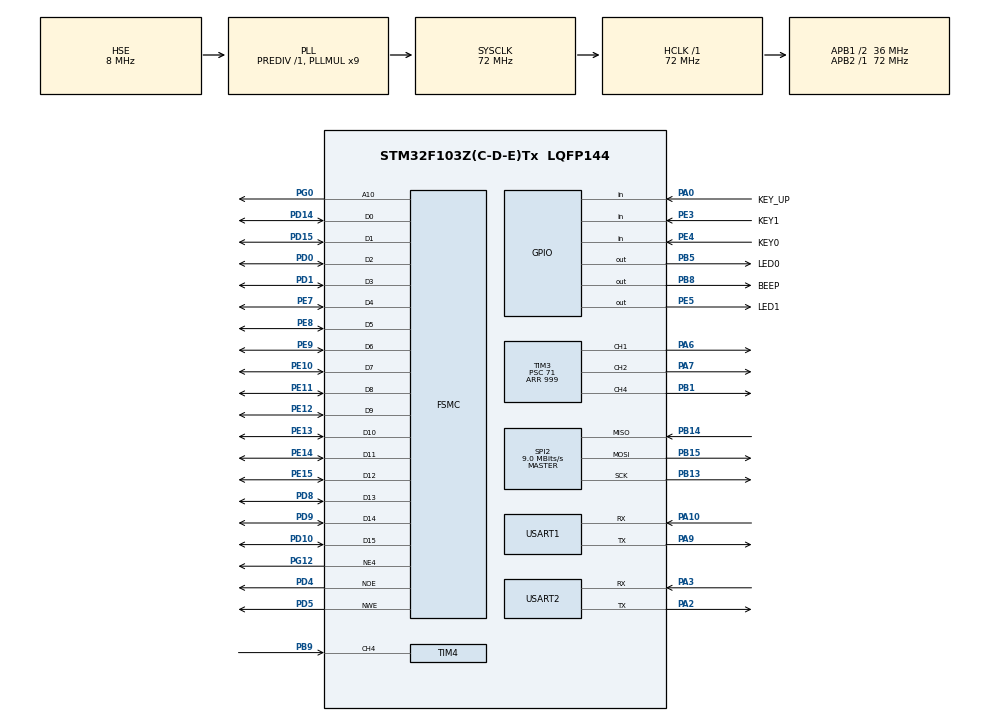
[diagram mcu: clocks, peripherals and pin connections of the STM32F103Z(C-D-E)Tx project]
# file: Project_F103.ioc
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Dma.Request0=USART1_RX
Dma.Request1=USART1_TX
Dma.Request2=USART2_RX
Dma.Request3=USART2_TX
Dma.USART1_RX.0.Direction=DMA_PERIPH_TO_MEMORY
Dma.USART1_RX.0.Instance=DMA1_Channel5
Dma.USART1_RX.0.MemDataAlignment=DMA_MDATAALIGN_BYTE
Dma.USART1_RX.0.MemInc=DMA_MINC_ENABLE
Dma.USART1_RX.0.Mode=DMA_NORMAL
Dma.USART1_RX.0.PeriphDataAlignment=DMA_PDATAALIGN_BYTE
Dma.USART1_RX.0.PeriphInc=DMA_PINC_DISABLE
Dma.USART1_RX.0.Priority=DMA_PRIORITY_LOW
Dma.USART1_TX.1.Direction=DMA_MEMORY_TO_PERIPH
Dma.USART1_TX.1.Instance=DMA1_Channel4
Dma.USART1_TX.1.MemDataAlignment=DMA_MDATAALIGN_BYTE
Dma.USART1_TX.1.MemInc=DMA_MINC_ENABLE
Dma.USART1_TX.1.Mode=DMA_NORMAL
Dma.USART1_TX.1.PeriphDataAlignment=DMA_PDATAALIGN_BYTE
Dma.USART1_TX.1.PeriphInc=DMA_PINC_DISABLE
Dma.USART1_TX.1.Priority=DMA_PRIORITY_LOW
Dma.USART2_RX.2.Direction=DMA_PERIPH_TO_MEMORY
Dma.USART2_RX.2.Instance=DMA1_Channel6
Dma.USART2_RX.2.MemDataAlignment=DMA_MDATAALIGN_BYTE
Dma.USART2_RX.2.MemInc=DMA_MINC_ENABLE
Dma.USART2_RX.2.Mode=DMA_NORMAL
Dma.USART2_RX.2.PeriphDataAlignment=DMA_PDATAALIGN_BYTE
Dma.USART2_RX.2.PeriphInc=DMA_PINC_DISABLE
Dma.USART2_RX.2.Priority=DMA_PRIORITY_LOW
Dma.USART2_TX.3.Direction=DMA_MEMORY_TO_PERIPH
Dma.USART2_TX.3.Instance=DMA1_Channel7
Dma.USART2_TX.3.MemDataAlignment=DMA_MDATAALIGN_BYTE
Dma.USART2_TX.3.MemInc=DMA_MINC_ENABLE
Dma.USART2_TX.3.Mode=DMA_NORMAL
Dma.USART2_TX.3.PeriphDataAlignment=DMA_PDATAALIGN_BYTE
Dma.USART2_TX.3.PeriphInc=DMA_PINC_DISABLE
Dma.USART2_TX.3.Priority=DMA_PRIORITY_LOW
FSMC.AddressSetupTime1=0
FSMC.BusTurnAroundDuration1=0
FSMC.DataSetupTime1=15
FSMC.ExtendedAddressSetupTime1=0
FSMC.ExtendedBusTurnAroundDuration1=0
FSMC.ExtendedDataSetupTime1=1
FSMC.ExtendedMode1=FSMC_EXTENDED_MODE_ENABLE
FSMC.WriteOperation1=FSMC_WRITE_OPERATION_ENABLE
IWDG.Prescaler=IWDG_PRESCALER_32
Mcu.Family=STM32F1
Mcu.Name=STM32F103Z(C-D-E)Tx
Mcu.Package=LQFP144
NVIC.DMA1_Channel4_IRQn=true\:0\:0\:false\:false\:true\:false\:true\:true
NVIC.DMA1_Channel5_IRQn=true\:0\:0\:false\:false\:true\:false\:true\:true
NVIC.DMA1_Channel6_IRQn=true\:0\:0\:false\:false\:true\:false\:true\:true
NVIC.DMA1_Channel7_IRQn=true\:0\:0\:false\:false\:true\:false\:true\:true
NVIC.PriorityGroup=NVIC_PRIORITYGROUP_4
NVIC.TIM4_IRQn=true\:5\:0\:true\:false\:true\:true\:true\:true
NVIC.TIM6_IRQn=true\:8\:0\:true\:false\:true\:true\:true\:true
NVIC.USART1_IRQn=true\:5\:0\:true\:false\:true\:false\:true\:true
NVIC.USART2_IRQn=true\:5\:0\:true\:false\:true\:true\:true\:true
OSC_IN.Mode=HSE-External-Oscillator
OSC_IN.Signal=RCC_OSC_IN
OSC_OUT.Mode=HSE-External-Oscillator
OSC_OUT.Signal=RCC_OSC_OUT
PA0-WKUP.GPIO_Label=KEY_UP
PA0-WKUP.GPIO_PuPd=GPIO_PULLUP
PA0-WKUP.Signal=GPIO_Input
PA10.Mode=Asynchronous
PA10.Signal=USART1_RX
PA13.Mode=Serial_Wire
PA13.Signal=SYS_JTMS-SWDIO
PA14.Mode=Serial_Wire
PA14.Signal=SYS_JTCK-SWCLK
PA2.Mode=Asynchronous
PA2.Signal=USART2_TX
PA3.Mode=Asynchronous
PA3.Signal=USART2_RX
PA6.Signal=S_TIM3_CH1
PA7.Signal=S_TIM3_CH2
PA9.Mode=Asynchronous
PA9.Signal=USART1_TX
PB1.Signal=S_TIM3_CH4
PB13.Mode=Full_Duplex_Master
PB13.Signal=SPI2_SCK
PB14.Mode=Full_Duplex_Master
PB14.Signal=SPI2_MISO
PB15.Mode=Full_Duplex_Master
PB15.Signal=SPI2_MOSI
PB5.GPIO_Label=LED0
PB5.GPIO_PuPd=GPIO_NOPULL
PB5.PinState=GPIO_PIN_SET
PB5.Signal=GPIO_Output
PB8.GPIO_Label=BEEP
PB8.GPIO_PuPd=GPIO_PULLDOWN
PB8.Signal=GPIO_Output
PB9.Signal=S_TIM4_CH4
PC14-OSC32_IN.Mode=LSE-External-Oscillator
PC14-OSC32_IN.Signal=RCC_OSC32_IN
PC15-OSC32_OUT.Mode=LSE-External-Oscillator
PC15-OSC32_OUT.Signal=RCC_OSC32_OUT
PD0.Signal=FSMC_D2_DA2
PD1.Signal=FSMC_D3_DA3
PD10.Signal=FSMC_D15_DA15
PD14.Signal=FSMC_D0_DA0
PD15.Signal=FSMC_D1_DA1
PD4.Signal=FSMC_NOE
PD5.Signal=FSMC_NWE
PD8.Signal=FSMC_D13_DA13
PD9.Signal=FSMC_D14_DA14
PE10.Signal=FSMC_D7_DA7
PE11.Signal=FSMC_D8_DA8
PE12.Signal=FSMC_D9_DA9
PE13.Signal=FSMC_D10_DA10
PE14.Signal=FSMC_D11_DA11
PE15.Signal=FSMC_D12_DA12
PE3.GPIO_Label=KEY1
PE3.GPIO_PuPd=GPIO_PULLDOWN
PE3.Signal=GPIO_Input
PE4.GPIO_Label=KEY0
PE4.GPIO_PuPd=GPIO_PULLDOWN
PE4.Signal=GPIO_Input
PE5.GPIO_Label=LED1
PE5.GPIO_PuPd=GPIO_NOPULL
PE5.PinState=GPIO_PIN_SET
PE5.Signal=GPIO_Output
PE7.Signal=FSMC_D4_DA4
PE8.Signal=FSMC_D5_DA5
PE9.Signal=FSMC_D6_DA6
PG0.Signal=FSMC_A10
PG12.Mode=NorPsramChipSelect4_1
PG12.Signal=FSMC_NE4
ProjectManager.HeapSize=0x200
ProjectManager.StackSize=0x400
ProjectManager.TargetToolchain=MDK-ARM V5.32
RCC.AHBFreq_Value=72000000
RCC.APB1CLKDivider=RCC_HCLK_DIV2
RCC.APB1Freq_Value=36000000
RCC.APB1TimFreq_Value=72000000
RCC.APB2Freq_Value=72000000
RCC.APB2TimFreq_Value=72000000
RCC.HCLKFreq_Value=72000000
RCC.PLLMUL=RCC_PLL_MUL9
RCC.PLLSourceVirtual=RCC_PLLSOURCE_HSE
RCC.SYSCLKFreq_VALUE=72000000
RCC.SYSCLKSource=RCC_SYSCLKSOURCE_PLLCLK
RCC.USBFreq_Value=72000000
SH.FSMC_A10.0=FSMC_A10,A10_1
SH.FSMC_D0_DA0.0=FSMC_D0,16b-d1
SH.FSMC_D10_DA10.0=FSMC_D10,16b-d1
SH.FSMC_D11_DA11.0=FSMC_D11,16b-d1
SH.FSMC_D12_DA12.0=FSMC_D12,16b-d1
SH.FSMC_D13_DA13.0=FSMC_D13,16b-d1
SH.FSMC_D14_DA14.0=FSMC_D14,16b-d1
SH.FSMC_D15_DA15.0=FSMC_D15,16b-d1
SH.FSMC_D1_DA1.0=FSMC_D1,16b-d1
SH.FSMC_D2_DA2.0=FSMC_D2,16b-d1
SH.FSMC_D3_DA3.0=FSMC_D3,16b-d1
SH.FSMC_D4_DA4.0=FSMC_D4,16b-d1
SH.FSMC_D5_DA5.0=FSMC_D5,16b-d1
SH.FSMC_D6_DA6.0=FSMC_D6,16b-d1
SH.FSMC_D7_DA7.0=FSMC_D7,16b-d1
SH.FSMC_D8_DA8.0=FSMC_D8,16b-d1
SH.FSMC_D9_DA9.0=FSMC_D9,16b-d1
SH.FSMC_NOE.0=FSMC_NOE,Lcd1
SH.FSMC_NWE.0=FSMC_NWE,Lcd1
SH.S_TIM3_CH1.0=TIM3_CH1,PWM Generation1 CH1
SH.S_TIM3_CH2.0=TIM3_CH2,PWM Generation2 CH2
SH.S_TIM3_CH4.0=TIM3_CH4,PWM Generation4 CH4
SH.S_TIM4_CH4.0=TIM4_CH4,Input_Capture4_from_TI4
SPI2.BaudRatePrescaler=SPI_BAUDRATEPRESCALER_4
SPI2.CLKPhase=SPI_PHASE_2EDGE
SPI2.CLKPolarity=SPI_POLARITY_HIGH
SPI2.CalculateBaudRate=9.0 MBits/s
SPI2.Direction=SPI_DIRECTION_2LINES
SPI2.Mode=SPI_MODE_MASTER
SPI2.VirtualType=VM_MASTER
TIM3.Channel-PWM\ Generation1\ CH1=TIM_CHANNEL_1
TIM3.Channel-PWM\ Generation2\ CH2=TIM_CHANNEL_2
TIM3.Channel-PWM\ Generation4\ CH4=TIM_CHANNEL_4
TIM3.Period=999
TIM3.Prescaler=71
TIM4.Channel-Input_Capture4_from_TI4=TIM_CHANNEL_4
TIM4.ICFilter_CH4=3
TIM4.Period=9999
TIM4.Prescaler=71
TIM6.Period=499
TIM6.Prescaler=71
USART1.VirtualMode=VM_ASYNC
USART2.VirtualMode=VM_ASYNC
VP_IWDG_VS_IWDG.Mode=IWDG_Activate
VP_TIM4_VS_ClockSourceINT.Mode=Internal
VP_TIM6_VS_ClockSourceINT.Mode=Enable_Timer
board=custom

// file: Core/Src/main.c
/* USER CODE BEGIN Header */
/**
  ******************************************************************************
  * @file           : main.c
  * @brief          : Main program body
  ******************************************************************************
  * @attention
  *
  * Copyright (c) 2025 STMicroelectronics.
  * All rights reserved.
  *
  * This software is licensed under terms that can be found in the LICENSE file
  * in the root directory of this software component.
  * If no LICENSE file comes with this software, it is provided AS-IS.
  *
  ******************************************************************************
  */
/* USER CODE END Header */
#include "main.h"
#include "dma.h"
#include "iwdg.h"
#include "spi.h"
#include "tim.h"
#include "usart.h"
#include "gpio.h"
#include "fsmc.h"

/* USER CODE BEGIN Includes */
#include "delay.h"
#include "AT24Cxx.h"
#include "NM25Qxx.h"
#include "IAP.h"
#include "OV7725.h"
#include "LCD.h"
#include "LF0038.h"
#include "rgb_led.h"

/* USER CODE END Includes */

/* USER CODE BEGIN PTD */
const char SoftWareID[] = "W011";
/* USER CODE END PTD */

/* USER CODE BEGIN PD */
#define TASK_PERIOD_500US     1
#define TASK_PERIOD_1MS       1
#define TASK_PERIOD_2MS       2
#define TASK_PERIOD_5MS       5
#define TASK_PERIOD_10MS      10

#define TASK_PERIOD_20MS      20
#define TASK_PERIOD_50MS      50
#define TASK_PERIOD_100MS     100
#define TASK_PERIOD_500MS     500
#define TASK_PERIOD_1000MS    1000

/* USER CODE END PD */

/* USER CODE BEGIN PM */
#define IWDG_ENBALE 0
/* USER CODE END PM */

/* USER CODE BEGIN PV */
volatile uint32_t SystemRunTime_1ms = 0;
volatile uint64_t SystemRunTime_500us = 0;

/* USER CODE END PV */

void SystemClock_Config(void);
/* USER CODE BEGIN PFP */
void Error_Handler(void);

/* USER CODE END PFP */

/* USER CODE BEGIN 0 */
uint32_t GetTick_1ms(void)
{
  return SystemRunTime_1ms;
}
uint64_t GetTick_500us(void)
{
  return SystemRunTime_500us;
}

void Task_500us()
{

}
void Task_1ms()
{
	IAP_Cyclic();
}
void Task_2ms()
{

}
void Task_5ms()
{

}
void Task_10ms()
{
	RGB_RainbowTask();
}
void Task_20ms()
{

}
void Task_50ms()
{

}
void Task_100ms()
{

}
void Task_500ms()
{
	//LED1_TOGGLE;
}
void Task_1000ms()
{
	LED0_TOGGLE;
	//BEEP_TOGGLE;
#if IWDG_ENBALE
	HAL_IWDG_Refresh(&hiwdg);
#endif
}

void TaskSchedule()
{
	static uint64_t startValue_500us = 0;
    static uint32_t startValue_1ms = 0;
    static uint32_t startValue_2ms = 0;
    static uint32_t startValue_5ms = 0;
    static uint32_t startValue_10ms = 0;
    static uint32_t startValue_20ms = 0;
    static uint32_t startValue_50ms = 0;
    static uint32_t startValue_100ms = 0;
    static uint32_t startValue_500ms = 0;
    static uint32_t startValue_1000ms = 0;
    if (GetTick_500us() - startValue_500us >= TASK_PERIOD_500US)
    {
        startValue_500us = GetTick_500us();
        Task_500us();
    }
    if (GetTick_1ms() - startValue_1ms >= TASK_PERIOD_1MS)
    {
        startValue_1ms = GetTick_1ms();
        Task_1ms();
    }
    if (GetTick_1ms() - startValue_2ms >= TASK_PERIOD_2MS)
    {
    	startValue_2ms = GetTick_1ms();
        Task_2ms();
    }
    if (GetTick_1ms() - startValue_5ms >= TASK_PERIOD_5MS)
    {
    	startValue_5ms = GetTick_1ms();
        Task_5ms();
    }
    if (GetTick_1ms() - startValue_10ms >= TASK_PERIOD_10MS)
    {
    	startValue_10ms = GetTick_1ms();
        Task_10ms();
    }
    if (GetTick_1ms() - startValue_20ms >= TASK_PERIOD_20MS)
    {
    	startValue_20ms = GetTick_1ms();
        Task_20ms();
    }
    if (GetTick_1ms() - startValue_50ms >= TASK_PERIOD_50MS)
    {
    	startValue_50ms = GetTick_1ms();
        Task_50ms();
    }
    if (GetTick_1ms() - startValue_100ms >= TASK_PERIOD_100MS)
    {
    	startValue_100ms = GetTick_1ms();
        Task_100ms();
    }
    if (GetTick_1ms() - startValue_500ms >= TASK_PERIOD_500MS)
    {
    	startValue_500ms = GetTick_1ms();
        Task_500ms();
    }
    if (GetTick_1ms() - startValue_1000ms >= TASK_PERIOD_1000MS)
    {
        startValue_1000ms = GetTick_1ms();
	    Task_1000ms();
    }

}
/* USER CODE END 0 */

int main(void)
{

  /* USER CODE BEGIN 1 */
  SCB->VTOR = APP_START_ADDRESS;
  /* USER CODE END 1 */

  /* MCU Configuration--------------------------------------------------------*/

  /* Reset of all peripherals, Initializes the Flash interface and the Systick. */
  HAL_Init();

  /* Configure the system clock */
  SystemClock_Config();

  /* Initialize all configured peripherals */
  MX_GPIO_Init();
  MX_DMA_Init();
  MX_USART1_UART_Init();
  MX_IWDG_Init();
  MX_SPI2_Init();
  MX_USART2_UART_Init();
  MX_FSMC_Init();
  MX_TIM6_Init();
  MX_TIM4_Init();
  MX_TIM3_Init();
  /* USER CODE BEGIN 2 */
  HAL_TIM_Base_Start_IT(&htim6);
  HAL_UARTEx_ReceiveToIdle_DMA(&huart1,gU1RxBuf,U1BUF_MAXSIZE);
  HAL_UARTEx_ReceiveToIdle_DMA(&huart2,gU2RxBuf,U2BUF_MAXSIZE);
  DWT_Init();
  AT24Cxx_Init();
  Flash_Init();
  RGB_Init();
  /* USER CODE END 2 */

  /* Infinite loop */
  /* USER CODE BEGIN WHILE */
  while (1)
  {
    TaskSchedule();
    /* USER CODE END WHILE */

  }
}

void SystemClock_Config(void)
{
  RCC_OscInitTypeDef RCC_OscInitStruct = {0};
  RCC_ClkInitTypeDef RCC_ClkInitStruct = {0};

  /** Initializes the RCC Oscillators according to the specified parameters
  * in the RCC_OscInitTypeDef structure.
  */
  RCC_OscInitStruct.OscillatorType = RCC_OSCILLATORTYPE_LSI|RCC_OSCILLATORTYPE_HSE;
  RCC_OscInitStruct.HSEState = RCC_HSE_ON;
  RCC_OscInitStruct.HSEPredivValue = RCC_HSE_PREDIV_DIV1;
  RCC_OscInitStruct.HSIState = RCC_HSI_ON;
  RCC_OscInitStruct.LSIState = RCC_LSI_ON;
  RCC_OscInitStruct.PLL.PLLState = RCC_PLL_ON;
  RCC_OscInitStruct.PLL.PLLSource = RCC_PLLSOURCE_HSE;
  RCC_OscInitStruct.PLL.PLLMUL = RCC_PLL_MUL9;
  if (HAL_RCC_OscConfig(&RCC_OscInitStruct) != HAL_OK)
  {
    Error_Handler();
  }

  /** Initializes the CPU, AHB and APB buses clocks
  */
  RCC_ClkInitStruct.ClockType = RCC_CLOCKTYPE_HCLK|RCC_CLOCKTYPE_SYSCLK
                              |RCC_CLOCKTYPE_PCLK1|RCC_CLOCKTYPE_PCLK2;
  RCC_ClkInitStruct.SYSCLKSource = RCC_SYSCLKSOURCE_PLLCLK;
  RCC_ClkInitStruct.AHBCLKDivider = RCC_SYSCLK_DIV1;
  RCC_ClkInitStruct.APB1CLKDivider = RCC_HCLK_DIV2;
  RCC_ClkInitStruct.APB2CLKDivider = RCC_HCLK_DIV1;

  if (HAL_RCC_ClockConfig(&RCC_ClkInitStruct, FLASH_LATENCY_2) != HAL_OK)
  {
    Error_Handler();
  }
}

void Error_Handler(void)
{
  __disable_irq();
  while (1)
  {
  }
}
